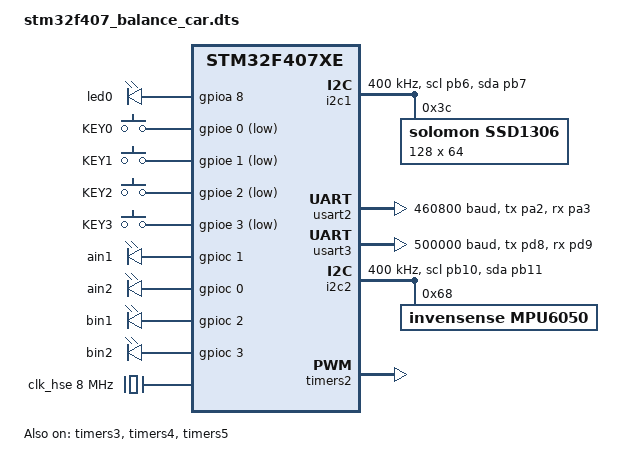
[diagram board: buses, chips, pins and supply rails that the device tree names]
/dts-v1/;

#include <arm/armv7-m.dtsi>
#include <st/f4/stm32f407Xe.dtsi>
#include <st/f4/stm32f407z(e-g)tx-pinctrl.dtsi>

#include <dt-bindings/gpio/gpio.h>
#include <dt-bindings/i2c/i2c.h>
#include <dt-bindings/input/input-event-codes.h>
#include <dt-bindings/clock/stm32f4_clock.h>
#include <dt-bindings/pwm/pwm.h>
#include <dt-bindings/pwm/stm32_pwm.h>
#include <dt-bindings/dma/stm32_dma.h>
#include <dt-bindings/reset/stm32f2_4_7_reset.h>
#include <dt-bindings/sensor/qdec_stm32.h>
#include <dt-bindings/power/stm32_pwr.h>

#include <zephyr/dt-bindings/dma/stm32_dma.h>

/ {
	leds {
		compatible = "gpio-leds";

		led0: led_0 {
			gpios = <&gpioa 8 GPIO_ACTIVE_HIGH>;
		};
	};

	keys {
		compatible = "gpio-keys";

		key0: key_0 {
			gpios = <&gpioe 0 (GPIO_PULL_UP | GPIO_ACTIVE_LOW)>;
			label = "KEY0";
			zephyr,code = <INPUT_KEY_0>;
		};

		key1: key_1 {
			gpios = <&gpioe 1 (GPIO_PULL_UP | GPIO_ACTIVE_LOW)>;
			label = "KEY1";
			zephyr,code = <INPUT_KEY_1>;
		};

		key2: key_2 {
			gpios = <&gpioe 2 (GPIO_PULL_UP | GPIO_ACTIVE_LOW)>;
			label = "KEY2";
			zephyr,code = <INPUT_KEY_2>;
		};

		key3: key_3 {
			gpios = <&gpioe 3 (GPIO_PULL_UP | GPIO_ACTIVE_LOW)>;
			label = "KEY3";
			zephyr,code = <INPUT_KEY_3>;
		};
	};

	/* motor_a_gpios 是父节点，它只是容器，没有 gpios 属性 */
	/* ain1、ain2、bin1、bin2 是子节点，它们才有 gpios 属性 */
	/* 因此需要使用DEVICE_DT_GET DT 指的是DEVICE_TREE的缩写 */
	/* DEVICE_DT_GET(DT_LABEL(ain1)) */
	motor_a_gpios: motor_a_gpios {
		compatible = "gpio-leds";

		/* ain2: 是节点标签（node label） 用于在其他地方引用这个节点，比如 &ain2 */
		/* ain2 { ... } 是节点名（node name） */
		ain1: ain1 {
			/* PC1 */
			gpios = <&gpioc 1 GPIO_ACTIVE_HIGH>;
		};

		ain2: ain2 {
			/* PC0 */
			gpios = <&gpioc 0 GPIO_ACTIVE_HIGH>;
		};
	};

	motor_b_gpios: motor_b_gpios {
		compatible = "gpio-leds";

		bin1: bin1 {
			gpios = <&gpioc 2 GPIO_ACTIVE_HIGH>;
		};

		bin2: bin2 {
			gpios = <&gpioc 3 GPIO_ACTIVE_HIGH>;
		};
	};

	/* aliases 是 Device Tree（设备树） 中的一个节点，它的作用是给设备节点起一个简短的别名，方便在代码中引用。 */
	/* DEVICE_DT_GET(DT_ALIAS(ain1)) 中的 DT_ALIAS */
	aliases {
		led0 = &led0;
		encodera = &qdec_e1;
		encoderb = &qdec_e2;
		tim5 = &counter5;
	};

	chosen {
		zephyr,sram = &sram0;
		zephyr,flash = &flash0;
		zephyr,display = &ssd1306;
		zephyr,console = &usart2;    /* 这里可以修改调试串口是usart2 */
	};
};

&led0 {
	status = "okay";
};

&clk_lsi {
	status = "okay";
};

&clk_hse {
	clock-frequency = <DT_FREQ_M(8)>;
	status = "okay";
};

&pll {
	div-m = <8>;
	mul-n = <336>;
	div-p = <2>;
	div-q = <7>;
	clocks = <&clk_hse>;
	status = "okay";
};

&rcc {
	clocks = <&pll>;
	clock-frequency = <DT_FREQ_M(168)>;
	ahb-prescaler = <1>;
	apb1-prescaler = <4>;
	apb2-prescaler = <2>;
};

&i2c1 {
	clock-frequency = <I2C_BITRATE_FAST>;
	pinctrl-0 = <&i2c1_scl_pb6 &i2c1_sda_pb7>;
	pinctrl-names = "default";
	status = "okay";

	ssd1306: ssd1306@3c {
		compatible = "solomon,ssd1306";
		reg = <0x3c>;
		width = <128>;
		height = <64>;

		segment-offset = <0>;
		page-offset = <0>;
		display-offset = <0>;
		multiplex-ratio = <63>;

		segment-remap;
		com-invdir;
		prechargep = <0x22>;
	};
};

&dma1 {
	status = "okay";
};

&usart2 {
	pinctrl-0 = <&usart2_tx_pa2 &usart2_rx_pa3>;
	pinctrl-names = "default";
	current-speed = <460800>;
	// dmas = <&dma1 6 4 STM32_DMA_PERIPH_TX STM32_DMA_FIFO_FULL>,
	//        <&dma1 5 4 STM32_DMA_PERIPH_RX STM32_DMA_FIFO_FULL>;
	// dma-names = "tx", "rx";
	status = "okay";
};

&usart3 {
	pinctrl-0 = <&usart3_tx_pd8 &usart3_rx_pd9>;
	pinctrl-names = "default";
	current-speed = <500000>;
	status = "okay";
};

&i2c2 {
	status = "okay";
	clock-frequency = <I2C_BITRATE_FAST>;
	pinctrl-0 = <&i2c2_scl_pb10 &i2c2_sda_pb11>;
	pinctrl-names = "default";

	mpu6050: mpu6050@68 {
		compatible = "invensense,mpu6050";
		reg = <0x68>;
		status = "okay";
		accel-fs = <2>;		/* +-2g */
		gyro-fs = <250>;	/* +-250°/s */
		smplrt-div = <0>; 	/* 8KHZ (1 + 0) = 8Khz （陀螺仪） 1Khz 加速度计 */
	};
};

&timers2 {
	status = "okay";
	st,prescaler = <84>;

	pwm2: pwm {
		/* compatbile 需要这样写 */
		compatible = "st,stm32-pwm";
		status = "okay";
		pinctrl-0 = <&tim2_ch1_pa0 &tim2_ch2_pa1>;
		pinctrl-names = "default";
		/* 4 通道 PWM */
		#pwm-cells = <3>;
	};
};
/* 编码器1 ： TIM3 （PA6，PA7） */

&timers3 {
	status = "okay";
	st,prescaler = <0>;

	qdec_e1: qdec {
		compatible = "st,stm32-qdec";  /* mpatible = "st,stm32-qdec" 表示："我是一个 STM32 的 Quadrature Decoder（正交编码器），请用 st,stm32-qdec 这个驱动来初始化我。" */
		status = "okay";
		pinctrl-0 = <&tim3_ch1_pa6 &tim3_ch2_pa7>;
		pinctrl-names = "default";
		/* 输入滤波 */
		st,input-filter-level = <FDIV32_N8>;
		/* 编码器每转脉冲数 */
		st,counts-per-revolution = <44>;
		/* 编码器模式: 0x1=模式1，0x2 = 模式2，-x3=模式3 (默认，x4计数) */
		st,encoder-mode = <3>;
	};
};

/* 编码器2 ： TIM4 (PD12 , PD13) */

&timers4 {
	status = "okay";
	st,prescaler = <0>;

	qdec_e2: qdec {
		compatible = "st,stm32-qdec";
		status = "okay";
		pinctrl-0 = <&tim4_ch1_pd12 &tim4_ch2_pd13>;
		pinctrl-names = "default";
		st,input-filter-level = <FDIV32_N8>;
		st,counts-per-revolution = <44>;
		st,encoder-mode = <3>;
	};
};

&timers5 {
	status = "okay";
	st,prescaler = <83>;
	st,countermode = <0>;

	counter5: counter {
		compatible = "st,stm32-counter";
		status = "okay";
		label = "COUNTER_5";
	};
};
